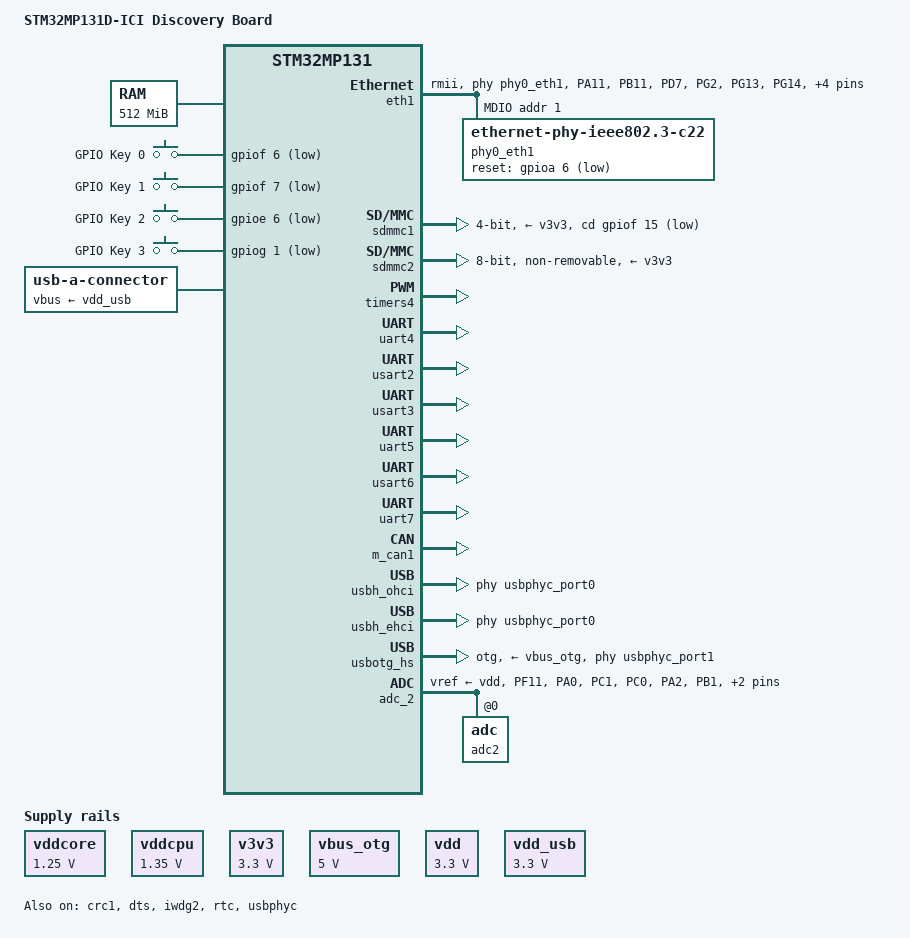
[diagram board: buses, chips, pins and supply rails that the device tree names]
// SPDX-License-Identifier: (GPL-2.0+ OR BSD-3-Clause)
/*
 * Copyright (C) STMicroelectronics 2022 - All Rights Reserved
 * Author: Alexandre Torgue <alexandre.torgue@foss.st.com> for STMicroelectronics.
 */

/dts-v1/;

#include <dt-bindings/gpio/gpio.h>
#include <dt-bindings/input/input.h>
#include <dt-bindings/input/linux-event-codes.h>
#include <dt-bindings/leds/common.h>
#include <dt-bindings/rtc/rtc-stm32.h>
#include "stm32mp133.dtsi"
#include "stm32mp13xd.dtsi"
#include "stm32mp13-pinctrl-ici.dtsi"
#include <dt-bindings/usb/pd.h>
#include <dt-bindings/pwm/pwm.h>

/ {
	model = "STM32MP131D-ICI Discovery Board";
	compatible = "st,stm32mp1351-ici", "st,stm32mp131";

	aliases {
		ethernet0 = &eth1;
		serial0 = &uart4;
		serial1 = &usart2;
		serial2 = &usart3;
		serial3 = &uart5;
		serial4 = &uart7;
		serial5 = &usart6;
	};

	chosen {
		#address-cells = <1>;
		#size-cells = <1>;
		ranges;
		stdout-path = "serial0:115200n8";
	};

	clocks {
		clk_mco1: clk-mco1 {
			#clock-cells = <0>;
			compatible = "fixed-clock";
			clock-frequency = <24000000>;
		};
	};

	memory@c0000000 {
		device_type = "memory";
		reg = <0xc0000000 0x20000000>;
	};

	reserved-memory {
		#address-cells = <1>;
		#size-cells = <1>;
		ranges;

		optee_reserved@dc000000 {
			reg = <0xdc000000 0x2000000>;
			no-map;
		};
		optee@de000000 {
			reg = <0xde000000 0x2000000>;
			no-map;
		};
	};

	wiegands-in {
		compatible = "bohai-wiegand-in";
		pinctrl-names = "default";
		status = "okay";

		channel_0 {
			data0_gpios = <&gpioh 8 GPIO_ACTIVE_LOW>;
			data1_gpios = <&gpioe 1 GPIO_ACTIVE_LOW>;
		};

		channel_1 {
			data0_gpios = <&gpiob 7 GPIO_ACTIVE_LOW>;
			data1_gpios = <&gpioe 14 GPIO_ACTIVE_LOW>;
		};

		channel_2 {
			data0_gpios = <&gpioe 0 GPIO_ACTIVE_LOW>;
			data1_gpios = <&gpioa 9 GPIO_ACTIVE_LOW>;
		};

		channel_3 {
			data0_gpios = <&gpiob 6 GPIO_ACTIVE_LOW>;
			data1_gpios = <&gpiod 11 GPIO_ACTIVE_LOW>;
		};
	};

	input0 {
		compatible = "gpio-keys-polled";
		poll-interval = <50>;  // 定义轮询间隔，单位为毫秒

		key0 {
            label = "GPIO Key 0";
            linux,code = <KEY_0>;
            gpios = <&gpiof 6 GPIO_ACTIVE_LOW>;
            debounce-interval = <2>;  // 消抖时间
        };
	};

	input1 {
		compatible = "gpio-keys-polled";
		poll-interval = <50>;

		key1 {
            label = "GPIO Key 1";
            linux,code = <KEY_1>;
            gpios = <&gpiof 7 GPIO_ACTIVE_LOW>;
            debounce-interval = <2>;
        };
	};

	input2 {
		compatible = "gpio-keys-polled";
		poll-interval = <50>;

		key2 {
            label = "GPIO Key 2";
            linux,code = <KEY_2>;
            gpios = <&gpioe 6 GPIO_ACTIVE_LOW>;
            debounce-interval = <2>;
        };
	};

	input3 {
		compatible = "gpio-keys-polled";
		poll-interval = <50>;

		key3 {
            label = "GPIO Key 3";
            linux,code = <KEY_3>;
            gpios = <&gpiog 1 GPIO_ACTIVE_LOW>;
            debounce-interval = <2>;
        };
	};

	// power-loss-detector {
	// 	compatible = "ici,power-loss-detector";
	// 	control-gpios = <&gpiof 14 GPIO_ACTIVE_LOW>;
	// 	interrupt-parent = <&gpiog>;
	// 	interrupts = <3 IRQ_TYPE_EDGE_FALLING>;     // 下降沿触发中断
	// };

	vddcore: vddcore {
        compatible = "regulator-fixed";
        regulator-name = "vddcore";
        regulator-min-microvolt = <1250000>;
        regulator-max-microvolt = <1250000>;
        regulator-off-in-suspend;
        regulator-always-on;
	};

	vddcpu: vddcpu {
		compatible = "regulator-fixed";
		regulator-name = "vddcpu";
		regulator-min-microvolt = <1350000>;
		regulator-max-microvolt = <1350000>;
        regulator-off-in-suspend;
        regulator-always-on;
	};

	v3v3: v3v3 {
        compatible = "regulator-fixed";
        regulator-name = "v3v3";
        regulator-min-microvolt = <3300000>;
        regulator-max-microvolt = <3300000>;
        regulator-off-in-suspend;
        regulator-always-on;
    };

	vbus_otg: vbus_otg {
        compatible = "regulator-fixed";
        regulator-name = "vbus_otg";
        regulator-min-microvolt = <5000000>;
        regulator-max-microvolt = <5000000>;
        regulator-off-in-suspend;
		regulator-always-on;
    };

	vdd: vdd {
        compatible = "regulator-fixed";
        regulator-name = "vdd";
        regulator-min-microvolt = <3300000>;
        regulator-max-microvolt = <3300000>;
        regulator-off-in-suspend;
        regulator-always-on;
    };

	vdd_usb: vdd_usb {
        compatible = "regulator-fixed";
        regulator-name = "vdd_usb";
        regulator-min-microvolt = <3300000>;
        regulator-max-microvolt = <3300000>;
        regulator-off-in-suspend;
        regulator-always-on;
    };
};
&crc1 {
	status = "okay";
};

&dts {
	status = "okay";
};

&eth1 {
	status = "okay";
	pinctrl-0 = <&eth1_rmii_pins_a>;
	pinctrl-1 = <&eth1_rmii_sleep_pins_a>;
	pinctrl-names = "default", "sleep";
	phy-mode = "rmii";
	max-speed = <100>;
	phy-handle = <&phy0_eth1>;
	nvmem-cells = <&ethernet_mac1_address>;
	nvmem-cell-names = "mac-address";

	mdio1 {
		#address-cells = <1>;
		#size-cells = <0>;
		compatible = "snps,dwmac-mdio";
		phy0_eth1: ethernet-phy@1 {
			compatible = "ethernet-phy-ieee802.3-c22";
			reset-gpios =  <&gpioa 6 GPIO_ACTIVE_LOW>;
			reg = <1>;
		};
	};
};

&iwdg2 {
	timeout-sec = <86400>;
	status = "okay";
};

&rtc {
	status = "okay";
};

&sdmmc1 {
	pinctrl-names = "default", "opendrain", "sleep";
	pinctrl-0 = <&sdmmc1_b4_pins_a &sdmmc1_clk_pins_a>;
	pinctrl-1 = <&sdmmc1_b4_od_pins_a &sdmmc1_clk_pins_a>;
	pinctrl-2 = <&sdmmc1_b4_sleep_pins_a>;
	cd-gpios = <&gpiof 15 (GPIO_ACTIVE_LOW | GPIO_PULL_UP)>;
	st,neg-edge;
 	no-1-8-v;
	bus-width = <4>;
	vmmc-supply = <&v3v3>;
	#address-cells = <1>;
	#size-cells = <0>;
	status = "okay";
};

/* EMMC */
&sdmmc2 {
	pinctrl-names = "default", "opendrain", "sleep";
	pinctrl-0 = <&sdmmc2_b4_pins_a &sdmmc2_b4_b7_pins_a &sdmmc2_clk_pins_a>;
	pinctrl-1 = <&sdmmc2_b4_od_pins_a &sdmmc2_b4_b7_od_pins_a &sdmmc2_clk_pins_a>;
	pinctrl-2 = <&sdmmc2_b4_sleep_pins_a &sdmmc2_b4_b7_sleep_pins_a>;
	non-removable;
	st,neg-edge;
 	mmc-ddr-3_3v;
 	no-1-8-v;
	bus-width = <8>;
	vmmc-supply = <&v3v3>;
	keep-power-in-suspend;
	#address-cells = <1>;
	#size-cells = <0>;
	status = "okay";
};

&timers4 {
	/delete-property/dmas;
	/delete-property/dma-names;
	status = "okay";

	pwm4:pwm {
		pinctrl-0 = <&pwm4_pins_a>;
		pinctrl-1 = <&pwm4_sleep_pins_a>;
		pinctrl-names = "default", "sleep";
		status = "okay";
	};

	timer@3 {
		status = "okay";
	};
};

&uart4 {
	pinctrl-names = "default";
	pinctrl-0 = <&uart4_pins_a>;
	/delete-property/dmas;
	/delete-property/dma-names;
	status = "okay";
};

&usart2 {
	pinctrl-names = "default";
	pinctrl-0 = <&usart2_pins_a>;
	/delete-property/dmas;
	/delete-property/dma-names;
	status = "okay";
};

&usart3 {
	pinctrl-names = "default";
	pinctrl-0 = <&usart3_pins_a>;
	/delete-property/dmas;
	/delete-property/dma-names;
	status = "okay";
};

&uart5 {
	pinctrl-names = "default";
	pinctrl-0 = <&uart5_pins_a>;
    uart-has-rtscts;
	/delete-property/dmas;
	/delete-property/dma-names;
	status = "okay";
};

&usart6 {
	pinctrl-names = "default";
	pinctrl-0 = <&usart6_pins_a>;
    uart-has-rtscts;
	/delete-property/dmas;
	/delete-property/dma-names;
	status = "okay";
};

&uart7 {
	pinctrl-names = "default";
	pinctrl-0 = <&uart7_pins_a>;
    uart-has-rtscts;
	/delete-property/dmas;
	/delete-property/dma-names;
	status = "okay";
};

&m_can1 {
	pinctrl-names = "default", "sleep";
	pinctrl-0 = <&m_can1_pins_a>;
	pinctrl-1 = <&m_can1_sleep_pins_a>;
	/delete-property/dmas;
	/delete-property/dma-names;
	status = "okay";
};

&usbh_ohci {
	phys = <&usbphyc_port0>;
	phy-names = "usb";
	status = "okay";
};

&usbh_ehci {
	phys = <&usbphyc_port0>;
	status = "okay";
};

&usbotg_hs {
	phys = <&usbphyc_port1 0>;
	phy-names = "usb2-phy";
	dr_mode = "otg";
	pinctrl-0 = <&usbotg_hs_pins_a>;
	pinctrl-names = "default";
	vbus-supply = <&vbus_otg>;
	status = "okay";
};

&usbphyc {
	status = "okay";
};

&usbphyc_port0 {
	phy-supply = <&vdd_usb>;

	st,current-boost-microamp = <1000>;
	st,decrease-hs-slew-rate;
	st,tune-hs-dc-level = <2>;
	st,enable-hs-rftime-reduction;
	st,trim-hs-current = <11>;
	st,trim-hs-impedance = <2>;
	st,tune-squelch-level = <1>;
	st,enable-hs-rx-gain-eq;
	st,no-hs-ftime-ctrl;
	st,no-lsfs-sc;
	/*
	 * Hack to keep hub active if wakeup source is enabled
	 * otherwise the hub will wakeup the port0 as soon as the v3v3_sw is disabled
	 */
	connector {
		compatible = "usb-a-connector";
		vbus-supply = <&vdd_usb>;
	};
};

&usbphyc_port1 {
	phy-supply = <&vdd_usb>;
	st,current-boost-microamp = <1000>;
	st,decrease-hs-slew-rate;
	st,tune-hs-dc-level = <2>;
	st,enable-hs-rftime-reduction;
	st,trim-hs-current = <11>;
	st,trim-hs-impedance = <2>;
	st,tune-squelch-level = <1>;
	st,enable-hs-rx-gain-eq;
	st,no-hs-ftime-ctrl;
	st,no-lsfs-sc;
};

&adc_2 {
	pinctrl-names = "default";
	pinctrl-0 = <&adc2_pins_a>;
	vdda-supply = <&vdd>;
	vref-supply = <&vdd>;
	status = "okay";

	adc2: adc@0 {
		status = "okay";

		channel@8 {
			reg = <8>;
			st,min-sample-time-ns = <5000>;
		};

		channel@7 {
			reg = <7>;
			st,min-sample-time-ns = <5000>;
		};

		channel@2 {
			reg = <2>;
			st,min-sample-time-ns = <5000>;
		};

		channel@0 {
			reg = <0>;
			st,min-sample-time-ns = <5000>;
		};

		channel@1 {
			reg = <1>;
			st,min-sample-time-ns = <5000>;
		};

		channel@5 {
			reg = <5>;
			st,min-sample-time-ns = <5000>;
		};

		channel@3 {
			reg = <3>;
			st,min-sample-time-ns = <5000>;
		};

		channel@9 {
			reg = <9>;
			st,min-sample-time-ns = <5000>;
		};
	};
};


&pinctrl {
	adc2_pins_a: adc2-0 {
		pins {
			pinmux = <STM32_PINMUX('F', 11, ANALOG)>, /* ADC1 inp8 */
					<STM32_PINMUX('A', 0, ANALOG)>, /* ADC1 inp7 */
					<STM32_PINMUX('C', 1, ANALOG)>, /* ADC1 inp2 */
					<STM32_PINMUX('C', 0, ANALOG)>, /* ADC1 inp0 */
					<STM32_PINMUX('A', 2, ANALOG)>, /* ADC1 inp1 */
					<STM32_PINMUX('B', 1, ANALOG)>, /* ADC1 inp5 */
					<STM32_PINMUX('A', 1, ANALOG)>, /* ADC1 inp3 */
					<STM32_PINMUX('B', 0, ANALOG)>; /* ADC1 inp9 */
		};
	};

	eth1_rmii_pins_a: eth1-rmii-1 {
		pins1 {
			pinmux = <STM32_PINMUX('A', 11, AF11)>, /* ETH1_CLK */
					 <STM32_PINMUX('B', 11, AF11)>, /* ETH1_TX_EN */
					 <STM32_PINMUX('D', 7, AF10)>, /* ETH1_REF_CLK */
					 <STM32_PINMUX('G', 2, AF11)>, /* ETH1_MDC */
					 <STM32_PINMUX('G', 13, AF11)>, /* ETH1_TXD0 */
					 <STM32_PINMUX('G', 14, AF11)>; /* ETH1_TXD1 */
			bias-disable;
			drive-push-pull;
			slew-rate = <1>;
		};
		pins2 {
			pinmux = <STM32_PINMUX('A', 7, AF11)>, /* ETH1_CRS_DV */
					 <STM32_PINMUX('C', 4, AF11)>, /* ETH1_RXD0 */
					 <STM32_PINMUX('C', 5, AF11)>; /* ETH1_RXD1 */
			bias-disable;
		};
		pins3 {
			pinmux = <STM32_PINMUX('G', 3, AF11)>; /* ETH1_MDIO */
			bias-disable;
			drive-push-pull;
			slew-rate = <0>;
		};
	};

	eth1_rmii_sleep_pins_a: eth1-rmii-sleep-1 {
		pins {
			pinmux = <STM32_PINMUX('A', 7, ANALOG)>, /* ETH1_CRS_DV */
					 <STM32_PINMUX('A', 11, ANALOG)>, /* ETH1_CLK */
					 <STM32_PINMUX('B', 11, ANALOG)>, /* ETH1_TX_EN */
					 <STM32_PINMUX('C', 4, ANALOG)>, /* ETH1_RXD0 */
					 <STM32_PINMUX('C', 5, ANALOG)>, /* ETH1_RXD1 */
					 <STM32_PINMUX('D', 7, ANALOG)>, /* ETH1_REF_CLK */
					 <STM32_PINMUX('G', 2, ANALOG)>, /* ETH1_MDC */
					 <STM32_PINMUX('G', 3, ANALOG)>, /* ETH1_MDIO */
					 <STM32_PINMUX('G', 13, ANALOG)>, /* ETH1_TXD0 */
					 <STM32_PINMUX('G', 14, ANALOG)>; /* ETH1_TXD1 */
		};
	};
};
